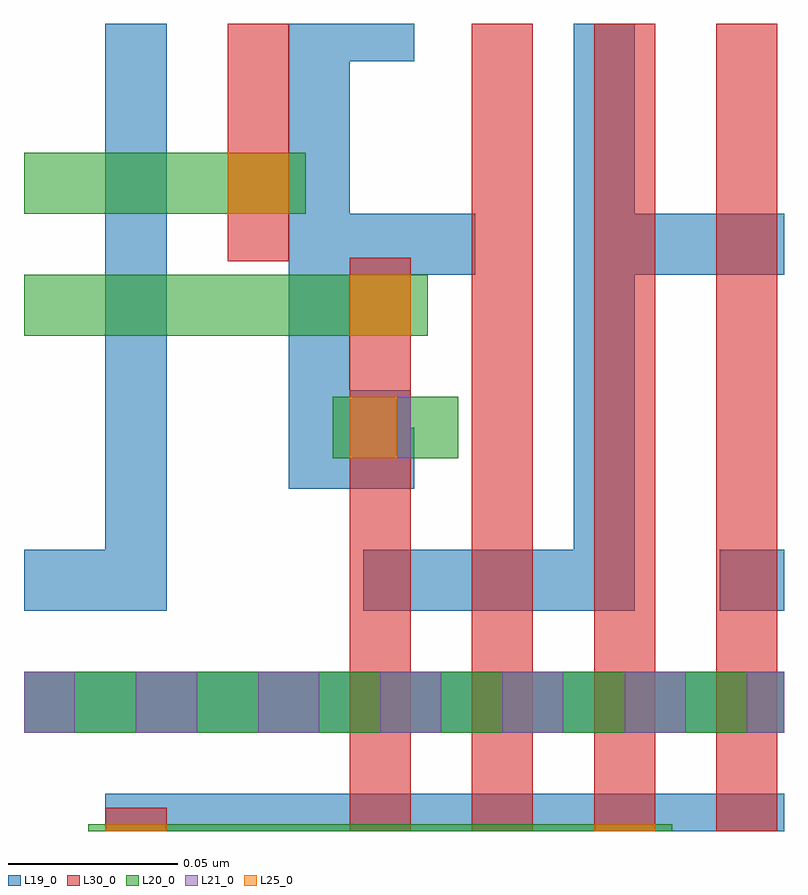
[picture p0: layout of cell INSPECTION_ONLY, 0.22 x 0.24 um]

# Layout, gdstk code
import gdstk
lib = gdstk.Library(unit=1e-6, precision=2.5e-10)
def R(c, l, rs):  # rectangles x0, y0, x1, y1
    for r in rs: c.add(gdstk.rectangle(r[:2], r[2:], *l))
def A(c, l, x, y, w, h, nx, ny, dx, dy):  # array of equal rectangles
    R(c, l, [(x+i*dx, y+j*dy, x+i*dx+w, y+j*dy+h) for i in range(nx) for j in range(ny)])
def P(c, l, *ps):  # polygons
    for p in ps: c.add(gdstk.Polygon(p, *l))
L19_0 = (19, 0)
L20_0 = (20, 0)
L21_0 = (21, 0)
L25_0 = (25, 0)
L30_0 = (30, 0)

inspection_only = lib.new_cell('INSPECTION_ONLY')
R(inspection_only, L19_0, [(2.232,2.932,2.432,2.943), (2.208,2.961,2.432,2.979), (2.208,2.961,2.432,2.979), (2.208,2.961,2.214,2.979), (2.208,2.961,2.268,2.979), (2.214,2.961,2.432,2.979), (2.268,2.961,2.432,2.979), (2.413,2.997,2.432,3.015), (2.304,3.04,2.322,3.062)])
P(inspection_only, L19_0, [(2.308,2.997),(2.308,3.015),(2.37,3.015),(2.37,3.17),(2.388,3.17),(2.388,3.114),(2.432,3.114),(2.432,3.096),(2.388,3.096),(2.388,2.997)],
  [(2.286,3.033),(2.286,3.17),(2.323,3.17),(2.323,3.159),(2.304,3.159),(2.304,3.114),(2.341,3.114),(2.341,3.096),(2.304,3.096),(2.304,3.051),(2.323,3.051),(2.323,3.033)],
  [(2.208,2.997),(2.208,3.015),(2.232,3.015),(2.232,3.17),(2.25,3.17),(2.25,2.997)])
R(inspection_only, L20_0, [(2.227,2.932,2.399,2.934), (2.208,2.961,2.432,2.979), (2.299,3.042,2.336,3.06), (2.208,3.078,2.327,3.096), (2.208,3.114,2.291,3.132)])
A(inspection_only, L21_0, 2.241, 2.961, 0.018, 0.018, 5, 1, 0.036, 0)
R(inspection_only, L21_0, [(2.208,2.961,2.223,2.979), (2.421,2.961,2.432,2.979), (2.304,3.042,2.322,3.06)])
R(inspection_only, L25_0, [(2.232,2.932,2.25,2.934), (2.376,2.932,2.394,2.934), (2.304,3.042,2.318,3.06), (2.304,3.078,2.322,3.096), (2.268,3.114,2.286,3.132)])
A(inspection_only, L30_0, 2.34, 2.932, 0.018, 0.238, 3, 1, 0.036, 0)
R(inspection_only, L30_0, [(2.232,2.932,2.25,2.939), (2.304,2.932,2.322,3.101), (2.268,3.1,2.286,3.17)])

lib.write_gds('INSPECTION_ONLY.gds')
